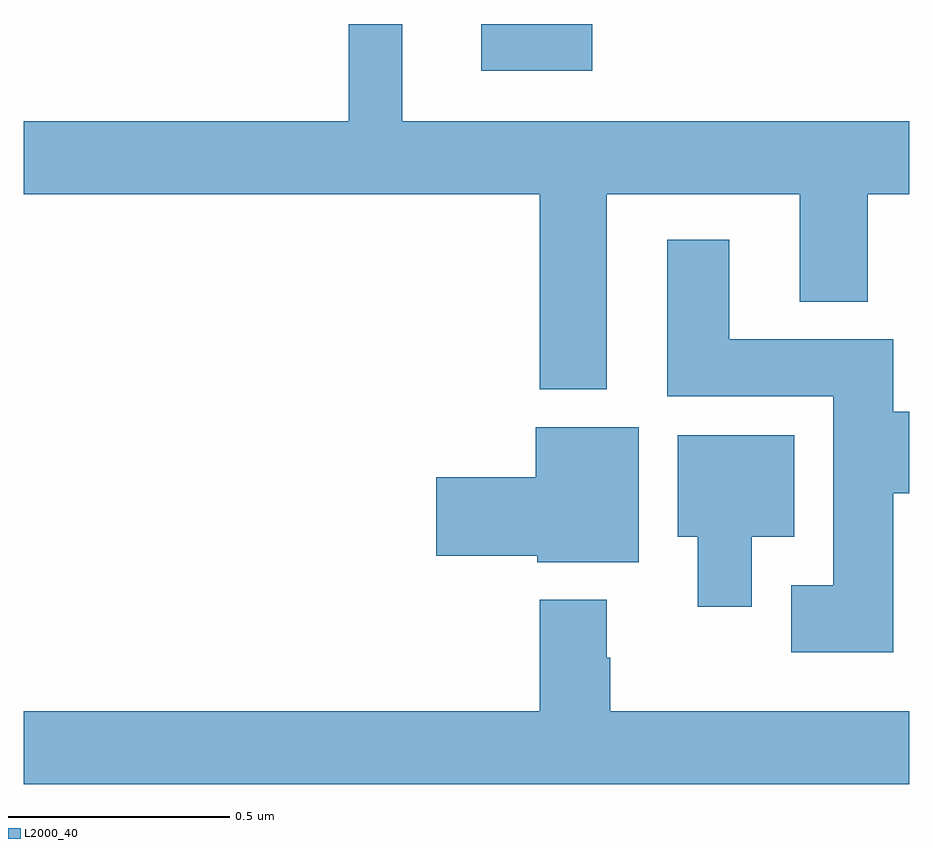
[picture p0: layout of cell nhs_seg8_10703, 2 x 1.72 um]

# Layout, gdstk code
import gdstk
lib = gdstk.Library(unit=1e-6, precision=1e-09)
def R(c, l, rs):  # rectangles x0, y0, x1, y1
    for r in rs: c.add(gdstk.rectangle(r[:2], r[2:], *l))
def P(c, l, *ps):  # polygons
    for p in ps: c.add(gdstk.Polygon(p, *l))
L2000_40 = (2000, 40)

nhs_seg8_10703 = lib.new_cell('nhs_seg8_10703')
R(nhs_seg8_10703, L2000_40, [(254.033,1100.795,254.284,1100.9)])
P(nhs_seg8_10703, L2000_40, [(253.734,1100.9),(253.734,1100.68),(253,1100.68),(253,1100.516),(254.165,1100.516),(254.165,1100.075),(254.317,1100.075),(254.317,1100.516),(254.753,1100.516),(254.753,1100.273),(254.906,1100.273),(254.906,1100.516),(255,1100.516),(255,1100.68),(253.855,1100.68),(253.855,1100.9)],
  [(254.963,1099.841),(255,1099.841),(255,1100.024),(254.963,1100.024),(254.963,1100.188),(254.593,1100.188),(254.593,1100.413),(254.453,1100.413),(254.453,1100.06),(254.828,1100.06),(254.828,1099.633),(254.733,1099.633),(254.733,1099.481),(254.963,1099.481)],
  [(254.389,1099.99),(254.156,1099.99),(254.156,1099.877),(253.932,1099.877),(253.932,1099.699),(254.16,1099.699),(254.16,1099.685),(254.389,1099.685)],
  [(254.644,1099.742),(254.74,1099.742),(254.74,1099.972),(254.477,1099.972),(254.477,1099.742),(254.522,1099.742),(254.522,1099.584),(254.644,1099.584)],
  [(255,1099.348),(254.325,1099.348),(254.325,1099.469),(254.317,1099.469),(254.317,1099.6),(254.165,1099.6),(254.165,1099.348),(253,1099.348),(253,1099.184),(255,1099.184)])

lib.write_gds('nhs_seg8_10703.gds')
